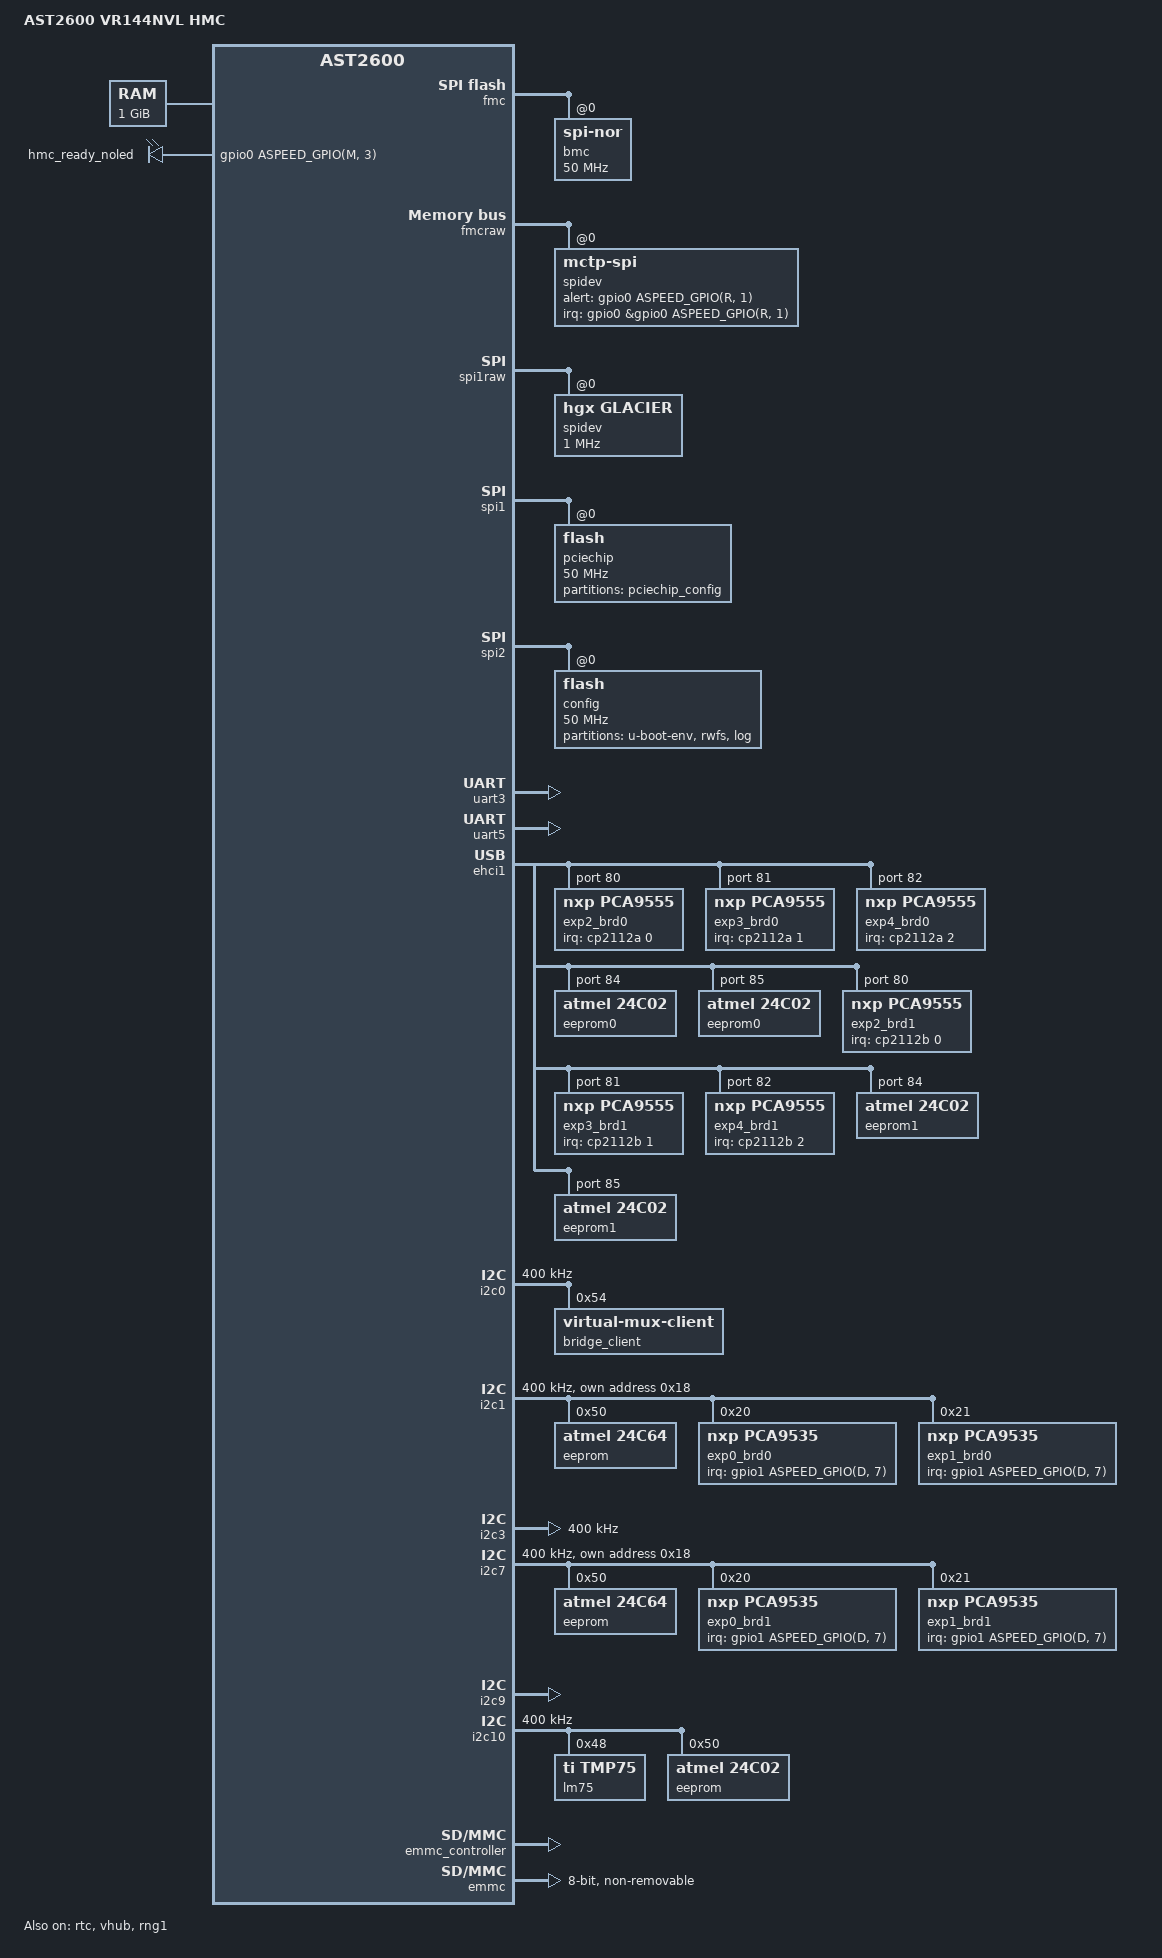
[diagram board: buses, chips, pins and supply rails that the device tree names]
// SPDX-License-Identifier: GPL-2.0+
/dts-v1/;

#include "nvidia-vr-nvl-hmc-core.dtsi"
#include <dt-bindings/leds/common.h>
#include <dt-bindings/i2c/i2c.h>
#include <dt-bindings/interrupt-controller/irq.h>

/ {
	model = "AST2600 VR144NVL HMC";
	compatible = "aspeed,ast2600";

	aliases {
                serial2 = &uart3;
		serial4 = &uart5;
        i2c70 = &i2c70;
        i2c71 = &i2c71;
	};

	chosen {
		stdout-path = &uart5;
		bootargs = "console=tty0 console=ttyS4,115200 earlyprintk";
	};

	memory@80000000 {
		reg = <0x80000000 0x40000000>;
	};

	reserved-memory {
		#address-cells = <1>;
		#size-cells = <1>;
		ranges;

		ramoops@a0000000 {
			compatible = "ramoops";
			reg = <0xa0000000 0x100000>; /* 1MB */
			record-size = <0x10000>; /* 64KB */
			max-reason = <2>; /* KMSG_DUMP_OOPS */
		};
	};

        leds {
            compatible = "gpio-leds";
            // Non-LEDs:
            //   HMC_READY-O GPIO pin (not an LED) is being bound to the GPIO LED driver.
            // Notes:
            // * This a workaround and leverages the GPIO LED driver to enable control of
            //   reset tolerance and still allow the GPIO to be controlled from user space.
            // * The standard Linux GPIO driver allows control of reset tolerance, however
            //   does not expose user space APIs for user space control of the GPIO pin.
            // * GPIO_TRANSITORY = reset tolerance is disabled
            // * Any non-leds should be added below this line.
            hmc_ready_noled {
                gpios = <&gpio0 ASPEED_GPIO(M, 3) (GPIO_ACTIVE_HIGH|GPIO_TRANSITORY)>;
            };
        };
};





&fmc {
    status = "okay";
    flash@0 {
        status = "okay";
        compatible = "jedec,spi-nor";
        label = "bmc";
        spi-max-frequency = <50000000>;
#include "aspeed-bmc-nvidia-vr-flash-layout-64.dtsi"
    };
};

&fmcraw {
    status = "okay";
    spidev@0 {
        compatible = "mctp-spi";
        alert-gpio = <&gpio0 ASPEED_GPIO(R, 1) GPIO_ACTIVE_HIGH>;
        interrupt-parent = <&gpio0>;
        interrupts = <&gpio0 ASPEED_GPIO(R, 1) GPIO_ACTIVE_HIGH>;
        status = "okay";
    };
};

&spi1raw {
    status = "okay";
    pinctrl-names = "default";
    pinctrl-0 = <&pinctrl_spi1_default>;
    spidev@0 {
        spi-max-frequency = <1000000>;
        compatible = "hgx,glacier";
        status = "okay";
    };
};

&spi1 {
    status = "okay";
    pinctrl-names = "default";
    pinctrl-0 = <&pinctrl_spi1_default>;
    flash@0 {
        status = "okay";
        label = "pciechip";
        spi-max-frequency = <50000000>;
        partitions {
            compatible = "fixed-partitions";
            #address-cells = <1>;
            #size-cells = <1>;

            cfg-env@0 {
                reg = <0x0 0x10000>;            // 128KB at offset 0
                label = "pciechip_config";
            };

        };
    };
};

&spi2 {
    status = "okay";
    pinctrl-names = "default";
    pinctrl-0 = <&pinctrl_spi2_default>;

    // Data SPI is 64MB in size
    flash@0 {
        status = "okay";
        label = "config";
        spi-max-frequency = <50000000>;
        partitions {
            compatible = "fixed-partitions";
            #address-cells = <1>;
            #size-cells = <1>;

            u-boot-env@0 {
                reg = <0x0 0x40000>;            // 256KB at offset 0
                label = "u-boot-env";
            };

            rwfs@40000 {
                reg = <0x40000 0x1000000>;      // 16MB at offset 0x40000
                label = "rwfs";
            };

            log@0x1040000 {
                reg = <0x1040000 0x2800000>;    // 40MB at offset 0x1040000
                label = "log";                  // Move log to EMMC, make this unused
            };
        };
    };
};

&rtc {
        status = "okay";
};

&uart3 {
	status = "okay";
};

&uart5 {
	// BMC Debug Console
	status = "okay";
};

/*
 * Enable port A as device (via the virtual hub) and port B as
 * host by default on the eval board.
 */


/* PORT A HOST - Disabled */
&ehci0 {
    status = "disabled";
};

/* PORT A DEVICE - Enabled */
&vhub {
    pinctrl-0 = <&pinctrl_usb2ad_default>;
    status = "okay";
};

/* PORT B Host - Enable */
&ehci1 {
    pinctrl-0 = <&pinctrl_usb2bh_default>;
    status = "okay";
    hub@1 {
        reg = <1>;
        hub@1 {
            reg = <1>;
            hub@1 {
                reg = <1>;
                device@1 {
                    reg = <1>;
                    cp2112a: interface@1 {
                        reg = <1 1>;

                        gpio-controller;
                        interrupt-controller;
                        #gpio-cells = <2>;
                        #interrupt-cells = <2>;

                        i2c70: i2c {
                            #address-cells = <1>;
                            #size-cells = <0>;

                            exp2_brd0: pca9555@50 {
                                compatible = "nxp,pca9555";
                                reg = <0x50>;
                                gpio-controller;
                                #gpio-cells = <2>;

                                #address-cells = <1>;
                                #size-cells = <0>;
                                interrupt-controller;
                                #interrupt-cells = <2>;
                                interrupt-parent = <&cp2112a>;
                                interrupts = <0 IRQ_TYPE_LEVEL_LOW>;

                                gpio-line-names =
                                    "BRD0_GPU0_THERM_OVERT_L-I",
                                    "BRD0_GPU0_AP_BOOT_COMPLETE-I",
                                    "BRD0_GPU0_RECOVERY-O",
                                    "BRD0_GPU0_MFG_BS_TEST-O",
                                    "BRD0_GPU0_STRAP4_GPU_MOD_ID-I",
                                    "BRD0_GPU0_STRAP_NVS_PRSNT-I",
                                    "BRD0_GPU0_STRAP5_GPU_MOD_ID-I",
                                    "BRD0_GPU0_IROT_ERROR_L-I",
                                    "BRD0_GPU0_THERM_ALERT_L-I",
                                    "BRD0_GPU0_STRAP_CPLD_PRSNT-I",
                                    "BRD0_MCU_THERM_OVERT_L-I",
                                    "BRD0_GPU_MCU_OK-I",
                                    "BRD0_MCU_HEARTBEAT-I",
                                    "BRD0_MCU_THERM_WARN_L-I",
                                    "BRD0_GLOBAL_WP-I",
                                    "BRD0_MCU_PWR_BRAKE_L-I";
                            };
                            exp3_brd0: pca9555@51 {
                                compatible = "nxp,pca9555";
                                reg = <0x51>;
                                gpio-controller;
                                #gpio-cells = <2>;

                                #address-cells = <1>;
                                #size-cells = <0>;
                                interrupt-controller;
                                #interrupt-cells = <2>;
                                interrupt-parent = <&cp2112a>;
                                interrupts = <1 IRQ_TYPE_LEVEL_LOW>;

                                gpio-line-names =
                                    "BRD0_GPU1_THERM_OVERT_L-I",
                                    "BRD0_GPU1_AP_BOOT_COMPLETE-I",
                                    "BRD0_GPU1_RECOVERY-O",
                                    "BRD0_GPU1_MFG_BS_TEST-O",
                                    "BRD0_GPU1_STRAP4_GPU_MOD_ID-I",
                                    "BRD0_GPU1_STRAP_NVS_PRSNT-I",
                                    "BRD0_GPU1_STRAP5_GPU_MOD_ID-I",
                                    "BRD0_GPU1_IROT_ERROR_L-I",
                                    "BRD0_GPU1_THERM_ALERT_L-I",
                                    "BRD0_GPU1_STRAP_CPLD_PRSNT-I",
                                    "BRD0_INA_CRITICAL_L-I",
                                    "BRD0_HSC_ALERT_L-I",
                                    "BRD0_HSCC_SMBUS_ALT_N-I",
                                    "BRD0_3V3_PGD-I",
                                    "BRD0_5V_PGD-I",
                                    "BRD0_BOARD_LOC-I";
                            };
                            exp4_brd0: pca9555@52 {
                                compatible = "nxp,pca9555";
                                reg = <0x52>;
                                gpio-controller;
                                #gpio-cells = <2>;

                                #address-cells = <1>;
                                #size-cells = <0>;
                                interrupt-controller;
                                #interrupt-cells = <2>;
                                interrupt-parent = <&cp2112a>;
                                interrupts = <2 IRQ_TYPE_LEVEL_LOW>;

                                gpio-line-names =
                                    "BRD0_RUN_POWER_EN-I",
                                    "BRD0_RUN_POWER_PG-I",
                                    "BRD0_INA_WARN_L-I",
                                    "BRD0_MCU_RECOVERY_STATUS-I",
                                    "BRD0_MCU_USER_STRAP0-I",
                                    "BRD0_VDD_1V8_PGOOD-I",
                                    "",
                                    "",
                                    "",
                                    "",
                                    "",
                                    "",
                                    "",
                                    "",
                                    "",
                                    "";
                            };
                            eeprom0@54 {
                                compatible = "atmel,24c02";
                                reg = <0x54>;
                                read-only;
                            };
                            eeprom0@55 {
                                compatible = "atmel,24c02";
                                reg = <0x55>;
                                read-only;
                            };
                        };
                    };
                };
            };
            hub@2 {
                reg = <2>;
                device@1 {
                    reg = <1>;
                    cp2112b: interface@1 {
                        reg = <1 1>;

                        gpio-controller;
                        interrupt-controller;
                        #gpio-cells = <2>;
                        #interrupt-cells = <2>;

                        i2c71: i2c {
                            #address-cells = <1>;
                            #size-cells = <0>;

                            exp2_brd1: pca9555@50 {
                                compatible = "nxp,pca9555";
                                reg = <0x50>;
                                gpio-controller;
                                #gpio-cells = <2>;

                                #address-cells = <1>;
                                #size-cells = <0>;
                                interrupt-controller;
                                #interrupt-cells = <2>;
                                interrupt-parent = <&cp2112b>;
                                interrupts = <0 IRQ_TYPE_LEVEL_LOW>;

                                gpio-line-names =
                                    "BRD1_GPU2_THERM_OVERT_L-I",
                                    "BRD1_GPU2_AP_BOOT_COMPLETE-I",
                                    "BRD1_GPU2_RECOVERY-O",
                                    "BRD1_GPU2_MFG_BS_TEST-O",
                                    "BRD1_GPU2_STRAP4_GPU_MOD_ID-I",
                                    "BRD1_GPU2_STRAP_NVS_PRSNT-I",
                                    "BRD1_GPU2_STRAP5_GPU_MOD_ID-I",
                                    "BRD1_GPU2_IROT_ERROR_L-I",
                                    "BRD1_GPU2_THERM_ALERT_L-I",
                                    "BRD1_GPU2_STRAP_CPLD_PRSNT-I",
                                    "BRD1_MCU_THERM_OVERT_L-I",
                                    "BRD1_GPU_MCU_OK-I",
                                    "BRD1_MCU_HEARTBEAT-I",
                                    "BRD1_MCU_THERM_WARN_L-I",
                                    "BRD1_GLOBAL_WP-I",
                                    "BRD1_MCU_PWR_BRAKE_L-I";
                            };
                            exp3_brd1: pca9555@51 {
                                compatible = "nxp,pca9555";
                                reg = <0x51>;
                                gpio-controller;
                                #gpio-cells = <2>;

                                #address-cells = <1>;
                                #size-cells = <0>;
                                interrupt-controller;
                                #interrupt-cells = <2>;
                                interrupt-parent = <&cp2112b>;
                                interrupts = <1 IRQ_TYPE_LEVEL_LOW>;

                                gpio-line-names =
                                    "BRD1_GPU3_THERM_OVERT_L-I",
                                    "BRD1_GPU3_AP_BOOT_COMPLETE-I",
                                    "BRD1_GPU3_RECOVERY-O",
                                    "BRD1_GPU3_MFG_BS_TEST-O",
                                    "BRD1_GPU3_STRAP4_GPU_MOD_ID-I",
                                    "BRD1_GPU3_STRAP_NVS_PRSNT-I",
                                    "BRD1_GPU3_STRAP5_GPU_MOD_ID-I",
                                    "BRD1_GPU3_IROT_ERROR_L-I",
                                    "BRD1_GPU3_THERM_ALERT_L-I",
                                    "BRD1_GPU3_STRAP_CPLD_PRSNT-I",
                                    "BRD1_INA_CRITICAL_L-I",
                                    "BRD1_HSC_ALERT_L-I",
                                    "BRD1_HSCC_SMBUS_ALT_N-I",
                                    "BRD1_3V3_PGD-I",
                                    "BRD1_5V_PGD-I",
                                    "BRD1_BOARD_LOC-I";
                            };
                            exp4_brd1: pca9555@52 {
                                compatible = "nxp,pca9555";
                                reg = <0x52>;
                                gpio-controller;
                                #gpio-cells = <2>;

                                #address-cells = <1>;
                                #size-cells = <0>;
                                interrupt-controller;
                                #interrupt-cells = <2>;
                                interrupt-parent = <&cp2112b>;
                                interrupts = <2 IRQ_TYPE_LEVEL_LOW>;

                                gpio-line-names =
                                    "BRD1_RUN_POWER_EN-I",
                                    "BRD1_RUN_POWER_PG-I",
                                    "BRD1_INA_WARN_L-I",
                                    "BRD1_MCU_RECOVERY_STATUS-I",
                                    "BRD1_MCU_USER_STRAP0-I",
                                    "BRD1_VDD_1V8_PGOOD-I",
                                    "",
                                    "",
                                    "",
                                    "",
                                    "",
                                    "",
                                    "",
                                    "",
                                    "",
                                    "";
                            };
                            eeprom1@54 {
                                compatible = "atmel,24c02";
                                reg = <0x54>;
                                read-only;
                            };
                            eeprom1@55 {
                                compatible = "atmel,24c02";
                                reg = <0x55>;
                                read-only;
                            };
                        };
                    };
                };
            };
        };
    };
};

/* PORT B DEVICE */
&udc {
    status = "disabled";
};

// I2C1
&i2c0 {
    status = "okay";
    clock-frequency = <400000>;
    disable-master = <1>;
    i2c-scl-clk-low-timeout-us = <32000>;

    bridge_client: bridge@51 {
       compatible = "virtual-mux-client";
       reg = <0x54>;
       use-crc16;
       status = "okay";

       #address-cells = <1>;
       #size-cells = <0>;

       map@50 { reg = <0x50>; downstream-bus = <1>;  downstream-addr = <0x50>; }; //HPM0 FRU
       map@51 { reg = <0x51>; downstream-bus = <7>;  downstream-addr = <0x50>; }; //HPM1 FRU
       map@52 { reg = <0x52>; downstream-bus = <10>; downstream-addr = <0x50>; }; //HMC FRU
       map@53 { reg = <0x53>; downstream-bus = <70>; downstream-addr = <0x54>; }; //CBC00 FRU
       map@54 { reg = <0x54>; downstream-bus = <70>; downstream-addr = <0x55>; }; //CBC01 FRU
       map@55 { reg = <0x55>; downstream-bus = <71>; downstream-addr = <0x54>; }; //CBC10 FRU
       map@56 { reg = <0x56>; downstream-bus = <71>; downstream-addr = <0x55>; }; //CBC11 FRU
   };
};                  

// I2C2 - HMC MGMT1 Bus
// To BRD_0
&i2c1 {
    status = "okay";
    clock-frequency = <400000>;
    i2c-scl-clk-low-timeout-us = <32000>;
    i2c-tck-thddat-config = <0x0099EC00>;
    multi-master;
    mctp-controller;
    mctp-no-flows;
    i2c-retries = <30>;
    i2c-timeout-ms = <150>;

    // FRU
    eeprom@50 {
        compatible = "atmel,24c64";
        reg = <0x50>;
        read-only;
    };

    // MCTP for HPM MCU
    mctp@18 {
        compatible = "mctp-i2c-controller";
        reg = <(0x18 | I2C_OWN_SLAVE_ADDRESS)>;

        /* NACK Retry Config */
        i2c-nack-retries = <32>;
        i2c-nack-retry-delay-us = <0>;
        i2c-nack-retry-addr = <0x52>;
    };

    // IO Expander - initramfs rebinds driver after standby power ready
    exp0_brd0: tca9535@20 {
        compatible = "nxp,pca9535";
        reg = <0x20>;
        gpio-controller;
        #gpio-cells = <2>;
        interrupt-controller;
        #interrupt-cells = <2>;
        interrupt-parent = <&gpio1>;
        interrupts = <ASPEED_GPIO(D, 7) IRQ_TYPE_LEVEL_LOW>;

        gpio-line-names =
            "BRD0_MCU_RESET_L-O",
            "BRD0_MCU_RECOVERY_L-O",
            "BRD0_GPU_MCU_RESET_L_3V3-O",
            "BRD0_GPU_MCU_RECOVERY_L_3V3-O",
            "BRD0_THERM_OVERT_L-I",
            "BRD0_THERM_WARN_L-I",
            "BRD0_HMC_IST_PRE_RST_L-O",
            "BRD0_CPLD_READY-I",
            "BRD0_MODULE_PWR_GOOD-I",
            "BRD0_MCU_HMC_ALERT_L-I",
            "BRD0_USB_HMC_HUB_RST_L-O",
            "BRD0_HPM_MCU_OK-I",
            "BRD0_CPU0_SHDN_OK_L_3V3-I",
            "BRD0_CPLD_AUTH_FAIL_L-I",
            "BRD0_IST_SYS_RST_L-O",
            "BRD0_PWR_BRAKE_STATUS_L-I";
    };

    // IO Expander - initramfs rebinds driver after standby power ready
    exp1_brd0: tca9535@21 {
        compatible = "nxp,pca9535";
        reg = <0x21>;
        gpio-controller;
        #gpio-cells = <2>;
        interrupt-controller;
        #interrupt-cells = <2>;
        interrupt-parent = <&gpio1>;
        interrupts = <ASPEED_GPIO(D, 7) IRQ_TYPE_LEVEL_LOW>;

        gpio-line-names =
            "BRD0_CPU_FORCED_RECOVERY_L-O",
            "BRD0_CPU_BOOT_DEV_SEL0-O",
            "BRD0_CPU_BOOT_DEV_SEL1-O",
            "BRD0_CPU_BOOT_DEV_SEL2-O",
            "BRD0_BOARD_ID_0-I",
            "BRD0_CPU_RECOVERY_TYPE0-O",
            "BRD0_CPU_RECOVERY_TYPE1-O",
            "BRD0_CPU_IST_BOOT_HMC-O",
            "BRD0_CPU_BOOT_CHAIN0-O",
            "BRD0_BOARD_ID_1-I",
            "BRD0_HMC_TO_MCU_I2C_EN-O",
            "BRD0_CPU_DIE_SEL0-O",
            "BRD0_CPU_DIE_SEL1-O",
            "BRD0_CPU_DIE_SEL2-O",
            "BRD0_CPU_BOOT_COMPLETE-I",
            "BRD0_IOX_JTAG_NVSEL-O";
    };
};

// I2C3
&i2c2 {
    status = "disabled";
};

// I2C4
&i2c3 {
    status = "okay";
    clock-frequency = <400000>;
    disable-master = <1>;
    i2c-scl-clk-low-timeout-us = <32000>;
};

// I2C5
&i2c4 {
    status = "disabled";
};

// I2C6
&i2c5 {
    status = "disabled";
};

// I2C7
&i2c6 {
    status = "disabled";
};

// I2C8 - HMC MGMT1 Bus
// To BRD_1
&i2c7 {
    status = "okay";
    clock-frequency = <400000>;
    i2c-scl-clk-low-timeout-us = <32000>;
    i2c-tck-thddat-config = <0x0099EC00>;
    multi-master;
    mctp-controller;
    mctp-no-flows;
    i2c-retries = <30>;
    i2c-timeout-ms = <150>;

    // FRU
    eeprom@50 {
        compatible = "atmel,24c64";
        reg = <0x50>;
        read-only;
    };

    mctp@18 {
        compatible = "mctp-i2c-controller";
        reg = <(0x18 | I2C_OWN_SLAVE_ADDRESS)>;

        /* NACK Retry Config */
        i2c-nack-retries = <32>;
        i2c-nack-retry-delay-us = <0>;
        i2c-nack-retry-addr = <0x52>;
    };

    // IO Expander - initramfs rebinds driver after standby power ready
    exp0_brd1: tca9535@20 {
        compatible = "nxp,pca9535";
        reg = <0x20>;
        gpio-controller;
        #gpio-cells = <2>;
        interrupt-controller;
        #interrupt-cells = <2>;
        interrupt-parent = <&gpio1>;
        interrupts = <ASPEED_GPIO(D, 7) IRQ_TYPE_LEVEL_LOW>;

        gpio-line-names =
            "BRD1_MCU_RESET_L-O",
            "BRD1_MCU_RECOVERY_L-O",
            "BRD1_GPU_MCU_RESET_L_3V3-O",
            "BRD1_GPU_MCU_RECOVERY_L_3V3-O",
            "BRD1_THERM_OVERT_L-I",
            "BRD1_THERM_WARN_L-I",
            "BRD1_HMC_IST_PRE_RST_L-O",
            "BRD1_CPLD_READY-I",
            "BRD1_MODULE_PWR_GOOD-I",
            "BRD1_MCU_HMC_ALERT_L-I",
            "BRD1_USB_HMC_HUB_RST_L-O",
            "BRD1_HPM_MCU_OK-I",
            "BRD1_CPU0_SHDN_OK_L_3V3-I",
            "BRD1_CPLD_AUTH_FAIL_L-I",
            "BRD1_IST_SYS_RST_L-O",
            "BRD1_PWR_BRAKE_STATUS_L-I";
    };

    // IO Expander - initramfs rebinds driver after standby power ready
    exp1_brd1: tca9535@21 {
        compatible = "nxp,pca9535";
        reg = <0x21>;
        gpio-controller;
        #gpio-cells = <2>;
        interrupt-controller;
        #interrupt-cells = <2>;
        interrupt-parent = <&gpio1>;
        interrupts = <ASPEED_GPIO(D, 7) IRQ_TYPE_LEVEL_LOW>;

        gpio-line-names =
            "BRD1_CPU_FORCED_RECOVERY_L-O",
            "BRD1_CPU_BOOT_DEV_SEL0-O",
            "BRD1_CPU_BOOT_DEV_SEL1-O",
            "BRD1_CPU_BOOT_DEV_SEL2-O",
            "BRD1_BOARD_ID_0-I",
            "BRD1_CPU_RECOVERY_TYPE0-O",
            "BRD1_CPU_RECOVERY_TYPE1-O",
            "BRD1_CPU_IST_BOOT_HMC-O",
            "BRD1_CPU_BOOT_CHAIN0-O",
            "BRD1_BOARD_ID_1-I",
            "BRD1_HMC_TO_MCU_I2C_EN-O",
            "BRD1_CPU_DIE_SEL0-O",
            "BRD1_CPU_DIE_SEL1-O",
            "BRD1_CPU_DIE_SEL2-O",
            "BRD1_CPU_BOOT_COMPLETE-I",
            "BRD1_IOX_JTAG_NVSEL-O";
    };
};

// I2C9
&i2c8 {
    status = "disabled";
};

// I2C10
&i2c9 {
    status = "okay";
};

// I2C11
&i2c10 {
    status = "okay";
    clock-frequency = <400000>;

    // Temp Sensor
    lm75@48 {
        compatible = "ti,tmp75";
        reg = <0x48>;
    };

    // HMC FRU EEPROM
    eeprom@50 {
        compatible = "atmel,24c02";
        reg = <0x50>;
        read-only;
    };
};

// I2C12
&i2c11 {
    status = "disabled";
};

// I2C13
&i2c12 {
    status = "disabled";
};

// I2C14
&i2c13 {
    status = "disabled";
};

// I2C15
&i2c14 {
    status = "disabled";
};

// I2C16
&i2c15 {
    status = "disabled";
};

/*&mctp {
    status = "okay";
};

&jtag0 {
    status = "okay";
};*/

// Enable network interface for QEMU
// TBD: We may want to remove for PROD build(s)
&mdio2 {
    status = "disabled";
    ethphy0: ethernet-phy@0 {
        compatible = "ethernet-phy-ieee802.3-c22";
        reg = <0>;
    };
};

&mac2 {
    status = "disabled";
    pinctrl-names = "default";
    phy-mode = "rgmii";
    max-speed = <1000>;
    phy-handle = <&ethphy0>;
    pinctrl-0 = <&pinctrl_rgmii3_default>;
};

// Enable emmc
&emmc_controller {
    status = "okay";
};

&emmc {
    non-removable;
    pinctrl-0 = <&pinctrl_emmcg9_default>;
    bus-width = <8>;
    max-frequency = <200000000>;
    clk-phase-mmc-hs200 = <9>, <225>;
};

&rng1 {
        status = "okay";
};

